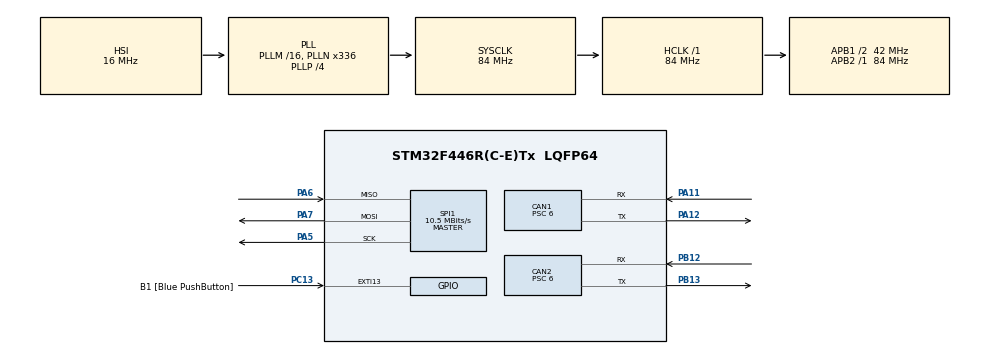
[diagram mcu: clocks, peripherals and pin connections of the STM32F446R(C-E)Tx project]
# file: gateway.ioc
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CAN1.BS1=CAN_BS1_11TQ
CAN1.BS2=CAN_BS2_2TQ
CAN1.CalculateBaudRate=500000
CAN1.CalculateTimeBit=2000
CAN1.CalculateTimeQuantum=142.85714285714286
CAN1.Mode=CAN_MODE_NORMAL
CAN1.Prescaler=6
CAN2.BS1=CAN_BS1_11TQ
CAN2.BS2=CAN_BS2_2TQ
CAN2.CalculateBaudRate=500000
CAN2.CalculateTimeBit=2000
CAN2.CalculateTimeQuantum=142.85714285714286
CAN2.Prescaler=6
Mcu.Family=STM32F4
Mcu.Name=STM32F446R(C-E)Tx
Mcu.Package=LQFP64
NVIC.CAN1_RX0_IRQn=true\:0\:0\:false\:false\:true\:true\:true\:true
NVIC.CAN1_RX1_IRQn=true\:0\:0\:false\:false\:true\:true\:true\:true
NVIC.CAN1_SCE_IRQn=true\:0\:0\:false\:false\:true\:true\:true\:true
NVIC.CAN1_TX_IRQn=true\:0\:0\:false\:false\:true\:true\:true\:true
NVIC.CAN2_RX0_IRQn=true\:0\:0\:false\:false\:true\:true\:true\:true
NVIC.CAN2_RX1_IRQn=true\:0\:0\:false\:false\:true\:true\:true\:true
NVIC.CAN2_SCE_IRQn=true\:0\:0\:false\:false\:true\:true\:true\:true
NVIC.CAN2_TX_IRQn=true\:0\:0\:false\:false\:true\:true\:true\:true
NVIC.PriorityGroup=NVIC_PRIORITYGROUP_0
PA11.Mode=CAN_Activate
PA11.Signal=CAN1_RX
PA12.Mode=CAN_Activate
PA12.Signal=CAN1_TX
PA13.GPIO_Label=TMS
PA13.Mode=Serial_Wire
PA13.Signal=SYS_JTMS-SWDIO
PA14.GPIO_Label=TCK
PA14.Mode=Serial_Wire
PA14.Signal=SYS_JTCK-SWCLK
PA2.GPIO_Label=USART_TX
PA2.Signal=USART2_TX
PA3.GPIO_Label=USART_RX
PA3.Signal=USART2_RX
PA5.Mode=Full_Duplex_Master
PA5.Signal=SPI1_SCK
PA6.Mode=Full_Duplex_Master
PA6.Signal=SPI1_MISO
PA7.Mode=Full_Duplex_Master
PA7.Signal=SPI1_MOSI
PB12.Mode=CAN_Activate
PB12.Signal=CAN2_RX
PB13.Mode=CAN_Activate
PB13.Signal=CAN2_TX
PB3.GPIO_Label=SWO
PB3.Signal=SYS_JTDO-SWO
PC13.GPIO_Label=B1 [Blue PushButton]
PC13.GPIO_ModeDefaultEXTI=GPIO_MODE_IT_FALLING
PC13.Signal=GPXTI13
PC14-OSC32_IN.Signal=RCC_OSC32_IN
PC15-OSC32_OUT.Signal=RCC_OSC32_OUT
PH0-OSC_IN.Signal=RCC_OSC_IN
PH1-OSC_OUT.Signal=RCC_OSC_OUT
ProjectManager.HeapSize=0x200
ProjectManager.StackSize=0x400
ProjectManager.TargetToolchain=STM32CubeIDE
RCC.AHBFreq_Value=84000000
RCC.APB1CLKDivider=RCC_HCLK_DIV2
RCC.APB1Freq_Value=42000000
RCC.APB1TimFreq_Value=84000000
RCC.APB2Freq_Value=84000000
RCC.APB2TimFreq_Value=84000000
RCC.CortexFreq_Value=84000000
RCC.FLatency-AdvancedSettings=FLASH_LATENCY_2
RCC.HCLKFreq_Value=84000000
RCC.HSE_VALUE=8000000
RCC.HSI_VALUE=16000000
RCC.LSE_VALUE=32768
RCC.PLLN=336
RCC.PLLP=RCC_PLLP_DIV4
RCC.SYSCLKFreq_VALUE=84000000
RCC.SYSCLKSource=RCC_SYSCLKSOURCE_PLLCLK
RCC.USBFreq_Value=168000000
RCC.VCOOutputFreq_Value=336000000
SPI1.BaudRatePrescaler=SPI_BAUDRATEPRESCALER_8
SPI1.CalculateBaudRate=10.5 MBits/s
SPI1.Direction=SPI_DIRECTION_2LINES
SPI1.Mode=SPI_MODE_MASTER
SPI1.VirtualType=VM_MASTER
board=NUCLEO-F446RE

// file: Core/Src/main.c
/* USER CODE BEGIN Header */
/**
  ******************************************************************************
  * @file           : main.c
  * @brief          : Main program body
  ******************************************************************************
  * @attention
  *
  * Copyright (c) 2026 STMicroelectronics.
  * All rights reserved.
  *
  * This software is licensed under terms that can be found in the LICENSE file
  * in the root directory of this software component.
  * If no LICENSE file comes with this software, it is provided AS-IS.
  *
  ******************************************************************************
  */
/* USER CODE END Header */
#include "main.h"

/* USER CODE BEGIN Includes */
#include "can_config.h"
#include "can_if.h"
#include "fault_record.h"
#include "watchdog.h"
#if BFMC_RUN_MODE == BFMC_RUN_APPLICATION
#include "bfmc_app.h"
#else
#include "can_bringup.h"
#endif
/* USER CODE END Includes */

CAN_HandleTypeDef hcan1;
CAN_HandleTypeDef hcan2;

SPI_HandleTypeDef hspi1;

void SystemClock_Config(void);
static void MX_GPIO_Init(void);
static void MX_CAN1_Init(void);
static void MX_CAN2_Init(void);
static void MX_SPI1_Init(void);

int main(void)
{

  /* USER CODE BEGIN 1 */
  /* Before HAL_Init: anything after it may already call Error_Handler(). */
  FaultRecord_Init();
  /* USER CODE END 1 */

  /* MCU Configuration--------------------------------------------------------*/

  /* Reset of all peripherals, Initializes the Flash interface and the Systick. */
  HAL_Init();

  /* Configure the system clock */
  SystemClock_Config();

  /* Initialize all configured peripherals */
  MX_GPIO_Init();
  MX_CAN1_Init();
  MX_CAN2_Init();
  MX_SPI1_Init();
  /* USER CODE BEGIN 2 */
#if BFMC_RUN_MODE == BFMC_RUN_APPLICATION
  BfmcApp_Init();
#else
  CanBringup_Init();
#endif
  /* USER CODE END 2 */

  /* Infinite loop */
  while (1)
  {

    /* USER CODE BEGIN 3 */
#if BFMC_RUN_MODE == BFMC_RUN_APPLICATION
    BfmcApp_Task();
#else
    CanBringup_Task();
#endif
  }
  /* USER CODE END 3 */
}

void SystemClock_Config(void)
{
  RCC_OscInitTypeDef RCC_OscInitStruct = {0};
  RCC_ClkInitTypeDef RCC_ClkInitStruct = {0};

  /** Configure the main internal regulator output voltage
  */
  __HAL_RCC_PWR_CLK_ENABLE();
  __HAL_PWR_VOLTAGESCALING_CONFIG(PWR_REGULATOR_VOLTAGE_SCALE3);

  /** Initializes the RCC Oscillators according to the specified parameters
  * in the RCC_OscInitTypeDef structure.
  */
  RCC_OscInitStruct.OscillatorType = RCC_OSCILLATORTYPE_HSI;
  RCC_OscInitStruct.HSIState = RCC_HSI_ON;
  RCC_OscInitStruct.HSICalibrationValue = RCC_HSICALIBRATION_DEFAULT;
  RCC_OscInitStruct.PLL.PLLState = RCC_PLL_ON;
  RCC_OscInitStruct.PLL.PLLSource = RCC_PLLSOURCE_HSI;
  RCC_OscInitStruct.PLL.PLLM = 16;
  RCC_OscInitStruct.PLL.PLLN = 336;
  RCC_OscInitStruct.PLL.PLLP = RCC_PLLP_DIV4;
  RCC_OscInitStruct.PLL.PLLQ = 2;
  RCC_OscInitStruct.PLL.PLLR = 2;
  if (HAL_RCC_OscConfig(&RCC_OscInitStruct) != HAL_OK)
  {
    Error_Handler();
  }

  /** Initializes the CPU, AHB and APB buses clocks
  */
  RCC_ClkInitStruct.ClockType = RCC_CLOCKTYPE_HCLK|RCC_CLOCKTYPE_SYSCLK
                              |RCC_CLOCKTYPE_PCLK1|RCC_CLOCKTYPE_PCLK2;
  RCC_ClkInitStruct.SYSCLKSource = RCC_SYSCLKSOURCE_PLLCLK;
  RCC_ClkInitStruct.AHBCLKDivider = RCC_SYSCLK_DIV1;
  RCC_ClkInitStruct.APB1CLKDivider = RCC_HCLK_DIV2;
  RCC_ClkInitStruct.APB2CLKDivider = RCC_HCLK_DIV1;

  if (HAL_RCC_ClockConfig(&RCC_ClkInitStruct, FLASH_LATENCY_2) != HAL_OK)
  {
    Error_Handler();
  }
}

static void MX_CAN1_Init(void)
{

  hcan1.Instance = CAN1;
  hcan1.Init.Prescaler = 6;
  hcan1.Init.Mode = CAN_MODE_NORMAL;
  hcan1.Init.SyncJumpWidth = CAN_SJW_1TQ;
  hcan1.Init.TimeSeg1 = CAN_BS1_11TQ;
  hcan1.Init.TimeSeg2 = CAN_BS2_2TQ;
  hcan1.Init.TimeTriggeredMode = DISABLE;
  hcan1.Init.AutoBusOff = DISABLE;
  hcan1.Init.AutoWakeUp = DISABLE;
  hcan1.Init.AutoRetransmission = DISABLE;
  hcan1.Init.ReceiveFifoLocked = DISABLE;
  hcan1.Init.TransmitFifoPriority = DISABLE;
  if (HAL_CAN_Init(&hcan1) != HAL_OK)
  {
    Error_Handler();
  }

}

static void MX_CAN2_Init(void)
{

  hcan2.Instance = CAN2;
  hcan2.Init.Prescaler = 6;
  hcan2.Init.Mode = CAN_MODE_NORMAL;
  hcan2.Init.SyncJumpWidth = CAN_SJW_1TQ;
  hcan2.Init.TimeSeg1 = CAN_BS1_11TQ;
  hcan2.Init.TimeSeg2 = CAN_BS2_2TQ;
  hcan2.Init.TimeTriggeredMode = DISABLE;
  hcan2.Init.AutoBusOff = DISABLE;
  hcan2.Init.AutoWakeUp = DISABLE;
  hcan2.Init.AutoRetransmission = DISABLE;
  hcan2.Init.ReceiveFifoLocked = DISABLE;
  hcan2.Init.TransmitFifoPriority = DISABLE;
  if (HAL_CAN_Init(&hcan2) != HAL_OK)
  {
    Error_Handler();
  }

}

static void MX_SPI1_Init(void)
{

  /* SPI1 parameter configuration*/
  hspi1.Instance = SPI1;
  hspi1.Init.Mode = SPI_MODE_MASTER;
  hspi1.Init.Direction = SPI_DIRECTION_2LINES;
  hspi1.Init.DataSize = SPI_DATASIZE_8BIT;
  hspi1.Init.CLKPolarity = SPI_POLARITY_LOW;
  hspi1.Init.CLKPhase = SPI_PHASE_1EDGE;
  hspi1.Init.NSS = SPI_NSS_SOFT;
  hspi1.Init.BaudRatePrescaler = SPI_BAUDRATEPRESCALER_8;
  hspi1.Init.FirstBit = SPI_FIRSTBIT_MSB;
  hspi1.Init.TIMode = SPI_TIMODE_DISABLE;
  hspi1.Init.CRCCalculation = SPI_CRCCALCULATION_DISABLE;
  hspi1.Init.CRCPolynomial = 10;
  if (HAL_SPI_Init(&hspi1) != HAL_OK)
  {
    Error_Handler();
  }

}

static void MX_GPIO_Init(void)
{
  GPIO_InitTypeDef GPIO_InitStruct = {0};

  /* GPIO Ports Clock Enable */
  __HAL_RCC_GPIOC_CLK_ENABLE();
  __HAL_RCC_GPIOH_CLK_ENABLE();
  __HAL_RCC_GPIOA_CLK_ENABLE();
  __HAL_RCC_GPIOB_CLK_ENABLE();

  /*Configure GPIO pin : B1_Pin */
  GPIO_InitStruct.Pin = B1_Pin;
  GPIO_InitStruct.Mode = GPIO_MODE_IT_FALLING;
  GPIO_InitStruct.Pull = GPIO_NOPULL;
  HAL_GPIO_Init(B1_GPIO_Port, &GPIO_InitStruct);

  /*Configure GPIO pins : USART_TX_Pin USART_RX_Pin */
  GPIO_InitStruct.Pin = USART_TX_Pin|USART_RX_Pin;
  GPIO_InitStruct.Mode = GPIO_MODE_AF_PP;
  GPIO_InitStruct.Pull = GPIO_NOPULL;
  GPIO_InitStruct.Speed = GPIO_SPEED_FREQ_VERY_HIGH;
  GPIO_InitStruct.Alternate = GPIO_AF7_USART2;
  HAL_GPIO_Init(GPIOA, &GPIO_InitStruct);

}

void Error_Handler(void)
{
  /* USER CODE BEGIN Error_Handler_Debug */
  /* Replaces the generated disable-and-spin, which keeps the node on the bus
   * while peers still believe it is alive, and leaves no trace. */
  uint32_t fault_pc = (uint32_t)__builtin_return_address(0);
  uint32_t consecutive;

  __disable_irq();

  /* First, before any delay: silent, the node's peers miss the next heartbeat
   * and fail safe on their own schedule. */
  CanIf_Silence();

  consecutive = FaultRecord_NoteError(fault_pc);

  if (consecutive < BFMC_FAULT_RESET_LIMIT)
  {
    /* Probably transient: a reset restores a known-good state, and startup brings
     * the actuators up stopped. */
    NVIC_SystemReset();
  }

  /* Reproducible: resetting again would loop forever. Park inert with the
   * watchdog fed on purpose, so the board stays alive to be inspected. */
  while (1)
  {
#if BFMC_WATCHDOG_ENABLE
    Watchdog_Refresh();
#endif
  }
  /* USER CODE END Error_Handler_Debug */
}
